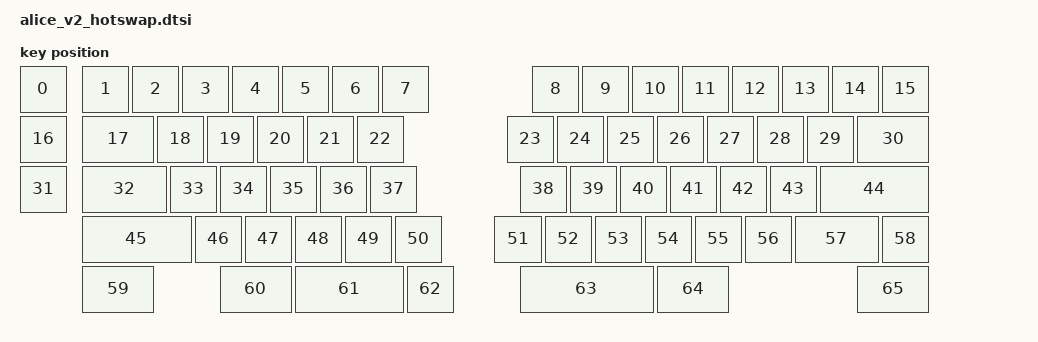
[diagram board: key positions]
#include <physical_layouts.dtsi>

/ {
    alice_split_bs: alice_split_bs {
        compatible = "zmk,physical-layout";
        display-name = "ALICE_SPLIT";

        kscan = <&kscan0>;
        transform = <&matrix_transform_0>;

        keys  //                     w   h    x    y     rot    rx    ry
            = <&key_physical_attrs 100 100    0    0       0     0     0>
            , <&key_physical_attrs 100 100  125    0       0     0     0>
            , <&key_physical_attrs 100 100  225    0       0     0     0>
            , <&key_physical_attrs 100 100  325    0       0     0     0>
            , <&key_physical_attrs 100 100  425    0       0     0     0>
            , <&key_physical_attrs 100 100  525    0       0     0     0>
            , <&key_physical_attrs 100 100  625    0       0     0     0>
            , <&key_physical_attrs 100 100  725    0       0     0     0>
            , <&key_physical_attrs 100 100 1025    0       0     0     0>
            , <&key_physical_attrs 100 100 1125    0       0     0     0>
            , <&key_physical_attrs 100 100 1225    0       0     0     0>
            , <&key_physical_attrs 100 100 1325    0       0     0     0>
            , <&key_physical_attrs 100 100 1425    0       0     0     0>
            , <&key_physical_attrs 100 100 1525    0       0     0     0>
            , <&key_physical_attrs 100 100 1625    0       0     0     0>
            , <&key_physical_attrs 100 100 1725    0       0     0     0>
            , <&key_physical_attrs 100 100    0  100       0     0     0>
            , <&key_physical_attrs 150 100  125  100       0     0     0>
            , <&key_physical_attrs 100 100  275  100       0     0     0>
            , <&key_physical_attrs 100 100  375  100       0     0     0>
            , <&key_physical_attrs 100 100  475  100       0     0     0>
            , <&key_physical_attrs 100 100  575  100       0     0     0>
            , <&key_physical_attrs 100 100  675  100       0     0     0>
            , <&key_physical_attrs 100 100  975  100       0     0     0>
            , <&key_physical_attrs 100 100 1075  100       0     0     0>
            , <&key_physical_attrs 100 100 1175  100       0     0     0>
            , <&key_physical_attrs 100 100 1275  100       0     0     0>
            , <&key_physical_attrs 100 100 1375  100       0     0     0>
            , <&key_physical_attrs 100 100 1475  100       0     0     0>
            , <&key_physical_attrs 100 100 1575  100       0     0     0>
            , <&key_physical_attrs 150 100 1675  100       0     0     0>
            , <&key_physical_attrs 100 100    0  200       0     0     0>
            , <&key_physical_attrs 175 100  125  200       0     0     0>
            , <&key_physical_attrs 100 100  300  200       0     0     0>
            , <&key_physical_attrs 100 100  400  200       0     0     0>
            , <&key_physical_attrs 100 100  500  200       0     0     0>
            , <&key_physical_attrs 100 100  600  200       0     0     0>
            , <&key_physical_attrs 100 100  700  200       0     0     0>
            , <&key_physical_attrs 100 100 1000  200       0     0     0>
            , <&key_physical_attrs 100 100 1100  200       0     0     0>
            , <&key_physical_attrs 100 100 1200  200       0     0     0>
            , <&key_physical_attrs 100 100 1300  200       0     0     0>
            , <&key_physical_attrs 100 100 1400  200       0     0     0>
            , <&key_physical_attrs 100 100 1500  200       0     0     0>
            , <&key_physical_attrs 225 100 1600  200       0     0     0>
            , <&key_physical_attrs 225 100  125  300       0     0     0>
            , <&key_physical_attrs 100 100  350  300       0     0     0>
            , <&key_physical_attrs 100 100  450  300       0     0     0>
            , <&key_physical_attrs 100 100  550  300       0     0     0>
            , <&key_physical_attrs 100 100  650  300       0     0     0>
            , <&key_physical_attrs 100 100  750  300       0     0     0>
            , <&key_physical_attrs 100 100  950  300       0     0     0>
            , <&key_physical_attrs 100 100 1050  300       0     0     0>
            , <&key_physical_attrs 100 100 1150  300       0     0     0>
            , <&key_physical_attrs 100 100 1250  300       0     0     0>
            , <&key_physical_attrs 100 100 1350  300       0     0     0>
            , <&key_physical_attrs 100 100 1450  300       0     0     0>
            , <&key_physical_attrs 175 100 1550  300       0     0     0>
            , <&key_physical_attrs 100 100 1725  300       0     0     0>
            , <&key_physical_attrs 150 100  125  400       0     0     0>
            , <&key_physical_attrs 150 100  400  400       0     0     0>
            , <&key_physical_attrs 225 100  550  400       0     0     0>
            , <&key_physical_attrs 100 100  775  400       0     0     0>
            , <&key_physical_attrs 275 100 1000  400       0     0     0>
            , <&key_physical_attrs 150 100 1275  400       0     0     0>
            , <&key_physical_attrs 150 100 1675  400       0     0     0>
            ;
    };
};
